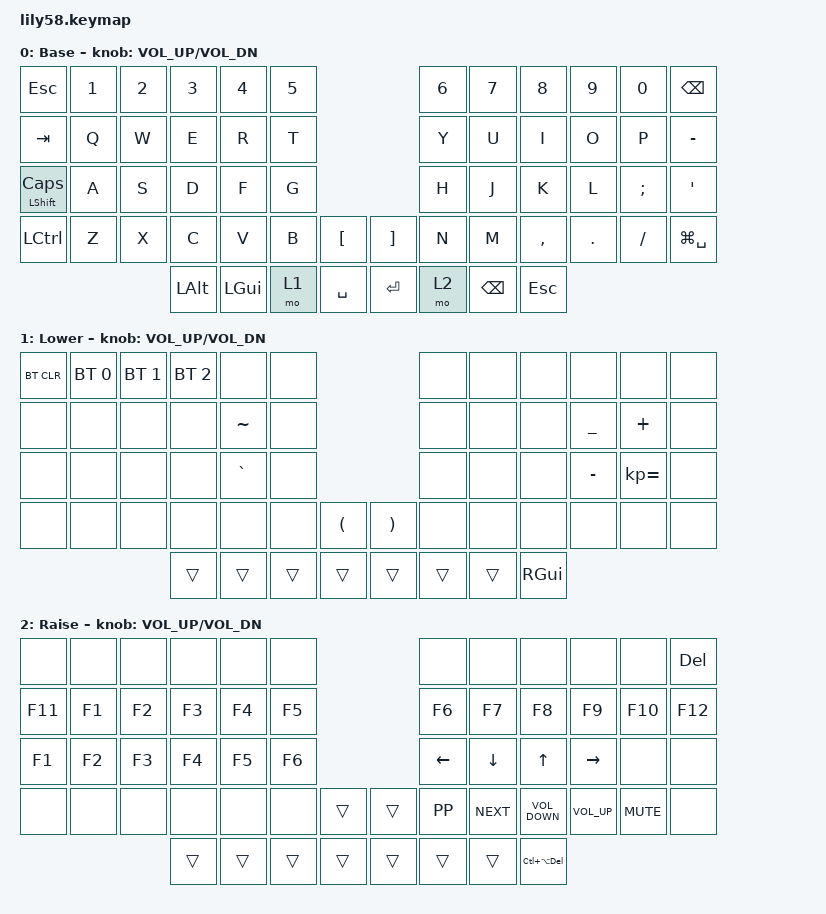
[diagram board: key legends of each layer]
/*
 * Copyright (c) 2020 The ZMK Contributors
 *
 * SPDX-License-Identifier: MIT
 */

#include <behaviors.dtsi>
#include <dt-bindings/zmk/bt.h>
#include <dt-bindings/zmk/keys.h>

/ {
    keymap {
        compatible = "zmk,keymap";

        default_layer {
            // ------------------------------------------------------------------------------------------------------------
            // |  ESC  |  1  |  2  |  3   |  4   |  5   |                   |  6   |  7    |  8    |  9   |   0   |   `   |
            // |  TAB  |  Q  |  W  |  E   |  R   |  T   |                   |  Y   |  U    |  I    |  O   |   P   |   -   |
            // |  CTRL |  A  |  S  |  D   |  F   |  G   |                   |  H   |  J    |  K    |  L   |   ;   |   '   |
            // | SHIFT |  Z  |  X  |  C   |  V   |  B   |   "["  |  |  "]"  |  N   |  M    |  ,    |  .   |   /   | SHIFT |
            //                     | ALT  | GUI  | LOWER|  SPACE |  | ENTER | RAISE| BSPC  | GUI   |

            label = "Base";
            bindings = <
&kp ESC                  &kp N1  &kp N2  &kp N3    &kp N4    &kp N5                         &kp N6  &kp N7    &kp N8      &kp N9   &kp N0    &kp BACKSPACE
&kp TAB                  &kp Q   &kp W   &kp E     &kp R     &kp T                          &kp Y   &kp U     &kp I       &kp O    &kp P     &kp MINUS
&mt LEFT_SHIFT CAPSLOCK  &kp A   &kp S   &kp D     &kp F     &kp G                          &kp H   &kp J     &kp K       &kp L    &kp SEMI  &kp SQT
&kp LCTRL                &kp Z   &kp X   &kp C     &kp V     &kp B   &kp LBKT     &kp RBKT  &kp N   &kp M     &kp COMMA   &kp DOT  &kp FSLH  &kp LG(SPACE)
                                         &kp LALT  &kp LGUI  &mo 1   &kp SPACE    &kp RET   &mo 2   &kp BSPC  &kp ESCAPE
            >;

            sensor-bindings = <&inc_dec_kp C_VOL_UP C_VOL_DN>;
        };

        lower_layer {
            // ------------------------------------------------------------------------------------------------------------
            // | BTCLR | BT1 | BT2 |  BT3 |  BT4 |  BT5 |                   |      |       |       |      |       |       |
            // |  F1   |  F2 |  F3 |  F4  |  F5  |  F6  |                   |  F7  |  F8   |  F9   |  F10 |  F11  |  F12  |
            // |   `   |  !  |  @  |  #   |  $   |  %   |                   |  ^   |  &    |  *    |  (   |   )   |   ~   |
            // |       |     |     |      |      |      |        |  |       |      |  _    |  +    |  {   |   }   |  "|"  |
            //                     |      |      |      |        |  |       |      |       |       |

            label = "Lower";
            bindings = <
&bt BT_CLR  &bt BT_SEL 0  &bt BT_SEL 1  &bt BT_SEL 2  &none      &none                                                  &none   &none   &none          &none           &none         &none
&none       &none         &none         &none         &kp TILDE  &none                                                  &none   &none   &none          &kp UNDERSCORE  &kp PLUS      &none
&none       &none         &none         &none         &kp GRAVE  &none                                                  &none   &none   &none          &kp MINUS       &kp KP_EQUAL  &none
&none       &none         &none         &none         &none      &none   &kp LEFT_PARENTHESIS    &kp RIGHT_PARENTHESIS  &none   &none   &none          &none           &none         &none
                                        &trans        &trans     &trans  &trans                  &trans                 &trans  &trans  &kp RIGHT_GUI
            >;

            sensor-bindings = <&inc_dec_kp C_VOL_UP C_VOL_DN>;
        };

        raise_layer {
            // ------------------------------------------------------------------------------------------------------------
            // |       |     |     |      |      |      |                   |      |       |       |      |       |       |
            // |   `   |  1  |  2  |  3   |  4   |  5   |                   |  6   |   7   |   8   |  9   |   0   |       |
            // |   F1  |  F2 |  F3 |  F4  |  F5  |  F6  |                   |      |   <-  |   v   |  ^   |  ->   |       |
            // |   F7  |  F8 |  F9 |  F10 |  F11 |  F12 |        |  |       |  +   |   -   |   =   |  [   |   ]   |   \   |
            //                     |      |      |      |        |  |       |      |       |       |

            label = "Raise";
            bindings = <
&none    &none   &none   &none   &none   &none                     &none     &none       &none               &none            &none       &kp DELETE
&kp F11  &kp F1  &kp F2  &kp F3  &kp F4  &kp F5                    &kp F6    &kp F7      &kp F8              &kp F9           &kp F10     &kp F12
&kp F1   &kp F2  &kp F3  &kp F4  &kp F5  &kp F6                    &kp LEFT  &kp DOWN    &kp UP_ARROW        &kp RIGHT        &none       &none
&none    &none   &none   &none   &none   &none   &trans    &trans  &kp K_PP  &kp K_NEXT  &kp C_VOLUME_DOWN   &kp C_VOLUME_UP  &kp K_MUTE  &none
                         &trans  &trans  &trans  &trans    &trans  &trans    &trans      &kp LC(LA(DELETE))
            >;

            sensor-bindings = <&inc_dec_kp C_VOL_UP C_VOL_DN>;
        };
    };
};
